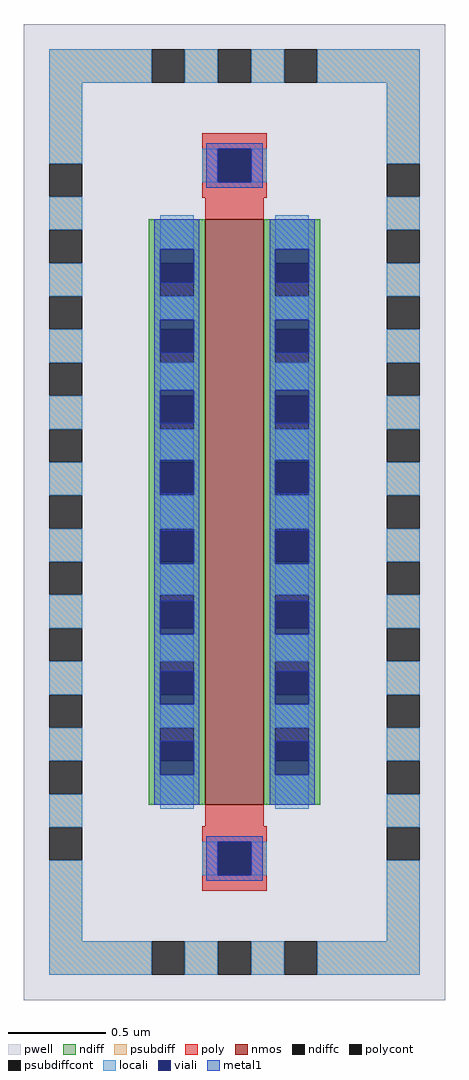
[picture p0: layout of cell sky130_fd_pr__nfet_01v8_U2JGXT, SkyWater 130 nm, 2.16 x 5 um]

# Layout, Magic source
magic
tech sky130A
magscale 1 2
<< pwell >>
rect -216 -500 216 500
<< nmos >>
rect -30 -300 30 300
<< ndiff >>
rect -88 255 -30 300
rect -88 221 -76 255
rect -42 221 -30 255
rect -88 187 -30 221
rect -88 153 -76 187
rect -42 153 -30 187
rect -88 119 -30 153
rect -88 85 -76 119
rect -42 85 -30 119
rect -88 51 -30 85
rect -88 17 -76 51
rect -42 17 -30 51
rect -88 -17 -30 17
rect -88 -51 -76 -17
rect -42 -51 -30 -17
rect -88 -85 -30 -51
rect -88 -119 -76 -85
rect -42 -119 -30 -85
rect -88 -153 -30 -119
rect -88 -187 -76 -153
rect -42 -187 -30 -153
rect -88 -221 -30 -187
rect -88 -255 -76 -221
rect -42 -255 -30 -221
rect -88 -300 -30 -255
rect 30 255 88 300
rect 30 221 42 255
rect 76 221 88 255
rect 30 187 88 221
rect 30 153 42 187
rect 76 153 88 187
rect 30 119 88 153
rect 30 85 42 119
rect 76 85 88 119
rect 30 51 88 85
rect 30 17 42 51
rect 76 17 88 51
rect 30 -17 88 17
rect 30 -51 42 -17
rect 76 -51 88 -17
rect 30 -85 88 -51
rect 30 -119 42 -85
rect 76 -119 88 -85
rect 30 -153 88 -119
rect 30 -187 42 -153
rect 76 -187 88 -153
rect 30 -221 88 -187
rect 30 -255 42 -221
rect 76 -255 88 -221
rect 30 -300 88 -255
<< ndiffc >>
rect -76 221 -42 255
rect -76 153 -42 187
rect -76 85 -42 119
rect -76 17 -42 51
rect -76 -51 -42 -17
rect -76 -119 -42 -85
rect -76 -187 -42 -153
rect -76 -255 -42 -221
rect 42 221 76 255
rect 42 153 76 187
rect 42 85 76 119
rect 42 17 76 51
rect 42 -51 76 -17
rect 42 -119 76 -85
rect 42 -187 76 -153
rect 42 -255 76 -221
<< psubdiff >>
rect -190 440 -85 474
rect -51 440 -17 474
rect 17 440 51 474
rect 85 440 190 474
rect -190 357 -156 440
rect -190 289 -156 323
rect 156 357 190 440
rect -190 221 -156 255
rect -190 153 -156 187
rect -190 85 -156 119
rect -190 17 -156 51
rect -190 -51 -156 -17
rect -190 -119 -156 -85
rect -190 -187 -156 -153
rect -190 -255 -156 -221
rect -190 -323 -156 -289
rect 156 289 190 323
rect 156 221 190 255
rect 156 153 190 187
rect 156 85 190 119
rect 156 17 190 51
rect 156 -51 190 -17
rect 156 -119 190 -85
rect 156 -187 190 -153
rect 156 -255 190 -221
rect -190 -440 -156 -357
rect 156 -323 190 -289
rect 156 -440 190 -357
rect -190 -474 -85 -440
rect -51 -474 -17 -440
rect 17 -474 51 -440
rect 85 -474 190 -440
<< psubdiffcont >>
rect -85 440 -51 474
rect -17 440 17 474
rect 51 440 85 474
rect -190 323 -156 357
rect 156 323 190 357
rect -190 255 -156 289
rect -190 187 -156 221
rect -190 119 -156 153
rect -190 51 -156 85
rect -190 -17 -156 17
rect -190 -85 -156 -51
rect -190 -153 -156 -119
rect -190 -221 -156 -187
rect -190 -289 -156 -255
rect 156 255 190 289
rect 156 187 190 221
rect 156 119 190 153
rect 156 51 190 85
rect 156 -17 190 17
rect 156 -85 190 -51
rect 156 -153 190 -119
rect 156 -221 190 -187
rect 156 -289 190 -255
rect -190 -357 -156 -323
rect 156 -357 190 -323
rect -85 -474 -51 -440
rect -17 -474 17 -440
rect 51 -474 85 -440
<< poly >>
rect -33 372 33 388
rect -33 338 -17 372
rect 17 338 33 372
rect -33 322 33 338
rect -30 300 30 322
rect -30 -322 30 -300
rect -33 -338 33 -322
rect -33 -372 -17 -338
rect 17 -372 33 -338
rect -33 -388 33 -372
<< polycont >>
rect -17 338 17 372
rect -17 -372 17 -338
<< locali >>
rect -190 440 -85 474
rect -51 440 -17 474
rect 17 440 51 474
rect 85 440 190 474
rect -190 357 -156 440
rect -33 338 -17 372
rect 17 338 33 372
rect 156 357 190 440
rect -190 289 -156 323
rect -190 221 -156 255
rect -190 153 -156 187
rect -190 85 -156 119
rect -190 17 -156 51
rect -190 -51 -156 -17
rect -190 -119 -156 -85
rect -190 -187 -156 -153
rect -190 -255 -156 -221
rect -190 -323 -156 -289
rect -76 269 -42 304
rect -76 197 -42 221
rect -76 125 -42 153
rect -76 53 -42 85
rect -76 -17 -42 17
rect -76 -85 -42 -53
rect -76 -153 -42 -125
rect -76 -221 -42 -197
rect -76 -304 -42 -269
rect 42 269 76 304
rect 42 197 76 221
rect 42 125 76 153
rect 42 53 76 85
rect 42 -17 76 17
rect 42 -85 76 -53
rect 42 -153 76 -125
rect 42 -221 76 -197
rect 42 -304 76 -269
rect 156 289 190 323
rect 156 221 190 255
rect 156 153 190 187
rect 156 85 190 119
rect 156 17 190 51
rect 156 -51 190 -17
rect 156 -119 190 -85
rect 156 -187 190 -153
rect 156 -255 190 -221
rect 156 -323 190 -289
rect -190 -440 -156 -357
rect -33 -372 -17 -338
rect 17 -372 33 -338
rect 156 -440 190 -357
rect -190 -474 -85 -440
rect -51 -474 -17 -440
rect 17 -474 51 -440
rect 85 -474 190 -440
<< viali >>
rect -17 338 17 372
rect -76 255 -42 269
rect -76 235 -42 255
rect -76 187 -42 197
rect -76 163 -42 187
rect -76 119 -42 125
rect -76 91 -42 119
rect -76 51 -42 53
rect -76 19 -42 51
rect -76 -51 -42 -19
rect -76 -53 -42 -51
rect -76 -119 -42 -91
rect -76 -125 -42 -119
rect -76 -187 -42 -163
rect -76 -197 -42 -187
rect -76 -255 -42 -235
rect -76 -269 -42 -255
rect 42 255 76 269
rect 42 235 76 255
rect 42 187 76 197
rect 42 163 76 187
rect 42 119 76 125
rect 42 91 76 119
rect 42 51 76 53
rect 42 19 76 51
rect 42 -51 76 -19
rect 42 -53 76 -51
rect 42 -119 76 -91
rect 42 -125 76 -119
rect 42 -187 76 -163
rect 42 -197 76 -187
rect 42 -255 76 -235
rect 42 -269 76 -255
rect -17 -372 17 -338
<< metal1 >>
rect -29 372 29 378
rect -29 338 -17 372
rect 17 338 29 372
rect -29 332 29 338
rect -82 269 -36 300
rect -82 235 -76 269
rect -42 235 -36 269
rect -82 197 -36 235
rect -82 163 -76 197
rect -42 163 -36 197
rect -82 125 -36 163
rect -82 91 -76 125
rect -42 91 -36 125
rect -82 53 -36 91
rect -82 19 -76 53
rect -42 19 -36 53
rect -82 -19 -36 19
rect -82 -53 -76 -19
rect -42 -53 -36 -19
rect -82 -91 -36 -53
rect -82 -125 -76 -91
rect -42 -125 -36 -91
rect -82 -163 -36 -125
rect -82 -197 -76 -163
rect -42 -197 -36 -163
rect -82 -235 -36 -197
rect -82 -269 -76 -235
rect -42 -269 -36 -235
rect -82 -300 -36 -269
rect 36 269 82 300
rect 36 235 42 269
rect 76 235 82 269
rect 36 197 82 235
rect 36 163 42 197
rect 76 163 82 197
rect 36 125 82 163
rect 36 91 42 125
rect 76 91 82 125
rect 36 53 82 91
rect 36 19 42 53
rect 76 19 82 53
rect 36 -19 82 19
rect 36 -53 42 -19
rect 76 -53 82 -19
rect 36 -91 82 -53
rect 36 -125 42 -91
rect 76 -125 82 -91
rect 36 -163 82 -125
rect 36 -197 42 -163
rect 76 -197 82 -163
rect 36 -235 82 -197
rect 36 -269 42 -235
rect 76 -269 82 -235
rect 36 -300 82 -269
rect -29 -338 29 -332
rect -29 -372 -17 -338
rect 17 -372 29 -338
rect -29 -378 29 -372
<< properties >>
string FIXED_BBOX -173 -457 173 457
<< end >>
